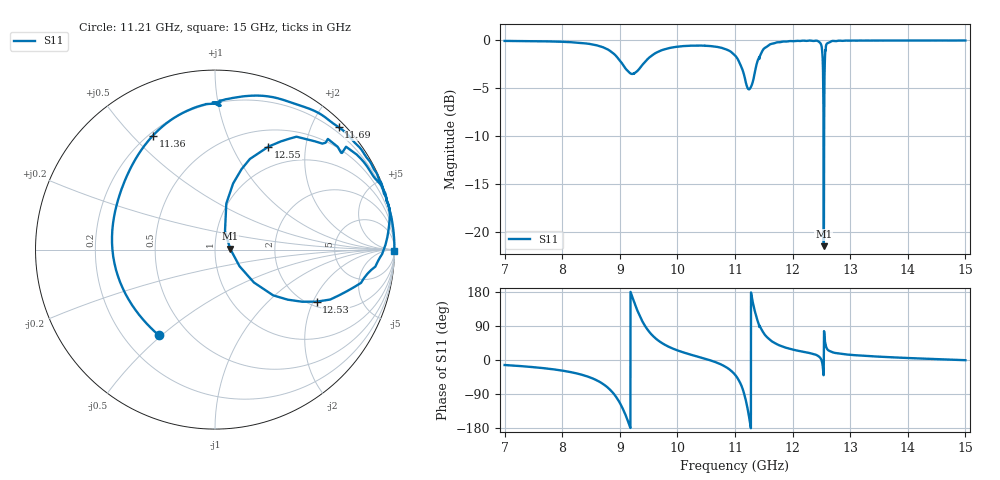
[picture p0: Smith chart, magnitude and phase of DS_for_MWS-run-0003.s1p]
! TOUCHSTONE file generated by CST DESIGN STUDIO
! Date and time: Mon Feb 10 16:57:08 2025
! Project name: C:\Work\MatlabApps\UnitCellType2OptimizationMatlab\CST\unitcell.cst
! Tree item: Tasks\Sweep1\SPara1\S-Parameters
! Header version: 2024
! Port assignment regex: !\s*Touchstone port\s*([0-9]+)\s*=\s*(CST MWS port|CST DES external port|CST DES block port)\s*(.+)\s* \(\"(.*)\"\)(\s*mode\s*([0-9]+))?.*
! Touchstone port assignment:
! Touchstone port 1 = CST DES external port 1 ("")
# GHz S MA R 50
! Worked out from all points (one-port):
!   4001 points, 7 GHz to 15 GHz, reference 50 ohm
!   lowest |S11| = -21.5 dB at 12.54 GHz (marker M1), VSWR 1.18, Z = 59.2 + j0.6 ohm
!   |S11| at or under -10 dB: 12.53742 GHz to 12.54698 GHz (9.555 MHz wide, 0.0762 % of centre)
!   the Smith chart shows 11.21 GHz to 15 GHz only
!   S11 on the Smith chart (normalised r, x): 11.21 GHz: 0.35, -0.49; 11.36 GHz: 0.22, +0.57; 11.69 GHz: 0.11, +2.43; 12.53 GHz: 2.19, -2.13; 12.55 GHz: 0.71, +1.40; 15 GHz: open
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7  0.9943 -13.2
8  0.9843 -28.0
8.62  0.9394 -55.2
8.856  0.8705 -82.4
9  0.7869 -112.9
9.194  0.6707 176.3
9.408  0.7553 97.5
9.658  0.8708 52.5
10  0.9277 25.4
10.666  0.9281 -5.9
11  0.8352 -38.7
11.132  0.7004 -76.0
11.212  0.5707 -123.3
11.284  0.5784 172.7
11.362  0.7231 118.6
11.472  0.8787 77.3
11.692  0.9695 44.7
12  0.9913 27.6
12.464  0.9808 8.3
12.504  0.9315 -1.5
12.53  0.6358 -27.1
12.542  0.08443 3.4
12.554  0.6463 62.6
12.588  0.9553 32.5
12.644  0.9781 23.6
13  0.9973 13.8
14  0.9989 5.3
15  0.9995 -0.5
